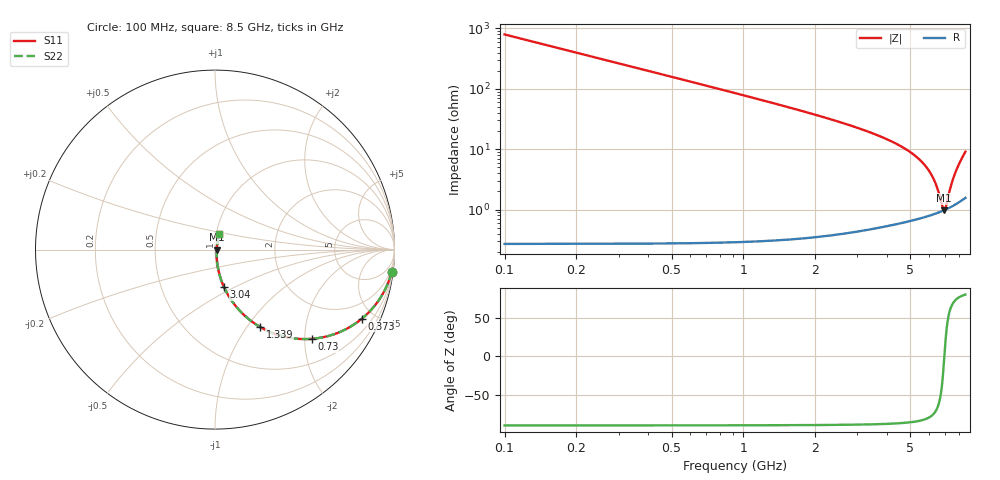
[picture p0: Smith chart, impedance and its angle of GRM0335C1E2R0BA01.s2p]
!Murata Part Number: GRM0335C1E2R0BA01
!These Parameters are Measured in Series Mode Connection
!Data Generated on Mar 30, 2021
!  o--ll--o
!Port1  Port2
!  o------o
!Operation Temp=25[degC], DC Bias Voltage=0[V]
!Freq. Start=100[MHz] Stop=9[GHz] 401[Steps]
# Hz S RI R 50
!Freq.(Hz) S11(Real) S11(Imag) S21(Real) S21(Imag) S12(Real) S12(Imag) S22(Real) S22(Imag)
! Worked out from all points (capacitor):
!   401 points, 100 MHz to 8.5 GHz, reference 50 ohm
!   read as one part in series: C = 2 pF near 142 MHz
!   lowest |Z| = 979 mohm at 6.925 GHz (marker M1)
!   series resonance near 6.94 GHz, so ESL is about 260 pH
!   S11 on the Smith chart (normalised r, x): 100 MHz: 1, -16; 373 MHz: 1.01, -4.26; 730 MHz: 1.01, -2.16; 1.339 GHz: 1.01, -1.15; 3.04 GHz: 1.01, -0.44; 8.5 GHz: 1.03, +0.18
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1e8  0.9844 -0.1237  0.0156 0.1237  0.0156 0.1237  0.9844 -0.1237
2.26e8  0.9251 -0.2629  0.0749 0.2629  0.0749 0.2629  0.9251 -0.2629
3.73e8  0.8189 -0.3845  0.1811 0.3845  0.1811 0.3845  0.8189 -0.3845
5.41e8  0.6816 -0.4649  0.3184 0.4649  0.3184 0.4649  0.6816 -0.4649
7.3e8  0.5387 -0.4972  0.4613 0.4972  0.4613 0.4972  0.5387 -0.4972
1.024e9  0.3691 -0.4807  0.6309 0.4807  0.6309 0.4807  0.3691 -0.4807
1.339e9  0.2511 -0.431  0.7489 0.431  0.7489 0.431  0.2511 -0.431
1.507e9  0.2072 -0.4022  0.7928 0.4022  0.7928 0.4022  0.2072 -0.4022
2.095e9  0.1133 -0.312  0.8867 0.312  0.8867 0.312  0.1133 -0.312
2.914e9  0.0561 -0.2212  0.9439 0.2212  0.9439 0.2212  0.0561 -0.2212
3.04e9  0.0508 -0.2101  0.9492 0.2101  0.9492 0.2101  0.0508 -0.2101
4.3e9  0.0212 -0.1236  0.9788 0.1236  0.9788 0.1236  0.0212 -0.1236
5.707e9  0.0104 -0.0548  0.9896 0.0548  0.9896 0.0548  0.0104 -0.0548
6.316e9  0.00918 -0.0279  0.9908 0.0279  0.9908 0.0279  0.00918 -0.0279
6.547e9  0.00916 -0.0177  0.9908 0.0177  0.9908 0.0177  0.00916 -0.0177
6.82e9  0.00946 -0.00549  0.9905 0.00549  0.9905 0.00549  0.00946 -0.00549
6.925e9  0.00967 -0.000691  0.9903 0.000691  0.9903 0.000691  0.00967 -0.000691
7.009e9  0.00989 0.00319  0.9901 -0.00319  0.9901 -0.00319  0.00989 0.00319
7.114e9  0.0102 0.00811  0.9898 -0.00811  0.9898 -0.00811  0.0102 0.00811
7.387e9  0.0114 0.0213  0.9886 -0.0213  0.9886 -0.0213  0.0114 0.0213
7.66e9  0.0131 0.0353  0.9869 -0.0353  0.9869 -0.0353  0.0131 0.0353
8.5e9  0.023 0.0863  0.977 -0.0863  0.977 -0.0863  0.023 0.0863
